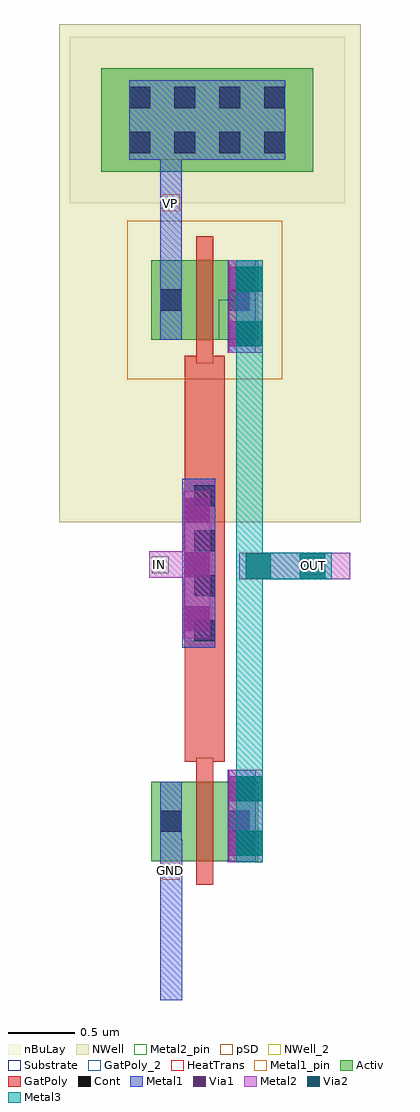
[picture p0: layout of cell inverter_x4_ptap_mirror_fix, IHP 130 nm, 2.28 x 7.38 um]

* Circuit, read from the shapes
.subckt inverter_x4_ptap_mirror_fix GND IN OUT VP
XM1 OUT IN GND VSUBS sg13_lv_nmos w=0.6u l=0.13u
XM2 OUT IN VP VP sg13_lv_pmos w=0.6u l=0.13u
.ends

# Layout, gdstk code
import gdstk
lib = gdstk.Library(unit=1e-6, precision=1e-09)
def R(c, l, rs):  # rectangles x0, y0, x1, y1
    for r in rs: c.add(gdstk.rectangle(r[:2], r[2:], *l))
def A(c, l, x, y, w, h, nx, ny, dx, dy):  # array of equal rectangles
    R(c, l, [(x+i*dx, y+j*dy, x+i*dx+w, y+j*dy+h) for i in range(nx) for j in range(ny)])
Activ = (1, 0)
GatPoly = (5, 0)
GatPoly_2 = (5, 2)
Cont = (6, 0)
Metal1 = (8, 0)
Metal1_pin = (8, 2)
Metal2 = (10, 0)
Metal2_pin = (10, 2)
pSD = (14, 0)
Via1 = (19, 0)
Via2 = (29, 0)
Metal3 = (30, 0)
NWell = (31, 0)
NWell_2 = (31, 2)
nBuLay = (32, 0)
Substrate = (40, 0)
HeatTrans = (51, 0)

via_2 = lib.new_cell('Via$2')
R(via_2, Metal2, [(-0.1,-0.35,0.1,0.35)])
R(via_2, Via2, [(-0.095,-0.3,0.095,-0.11), (-0.095,0.11,0.095,0.3)])
R(via_2, Metal3, [(-0.1,-0.35,0.1,0.35)])

via = lib.new_cell('Via')
R(via, Metal1, [(-0.105,-0.35,0.105,0.35)])
R(via, Metal2, [(-0.1,-0.35,0.1,0.35)])
R(via, Via1, [(-0.095,-0.3,0.095,-0.11), (-0.095,0.11,0.095,0.3)])

via_6 = lib.new_cell('Via$6')
R(via_6, Metal1, [(-0.105,-0.555,0.105,0.555)])
R(via_6, Metal2, [(-0.1,-0.555,0.1,0.555)])
A(via_6, Via1, -0.095, -0.505, 0.19, 0.19, 1, 3, 0, 0.41)

via_7 = lib.new_cell('Via$7')
R(via_7, Metal2, [(-0.35,-0.1,0.35,0.1)])
R(via_7, Via2, [(-0.3,-0.095,-0.11,0.095), (0.11,-0.095,0.3,0.095)])
R(via_7, Metal3, [(-0.35,-0.1,0.35,0.1)])

ntap1 = lib.new_cell('ntap1')
R(ntap1, Activ, [(0,0,1.6,0.78)])
A(ntap1, Cont, 0.21, 0.14, 0.16, 0.16, 4, 2, 0.34, 0.34)
R(ntap1, Metal1, [(0.21,0.09,1.39,0.69)])
R(ntap1, Metal1_pin, [(0.21,0.09,1.39,0.69), (0.21,0.14,1.39,0.64)])
R(ntap1, NWell, [(-0.24,-0.24,1.84,1.02), (0,0,1.6,0.78)])
R(ntap1, NWell_2, [(0,0,1.6,0.78)])
R(ntap1, nBuLay, [(-0.24,-0.24,1.84,1.02)])
ntap1.add(gdstk.Label('well', (0.8,0.01), layer=63, texttype=0))
ntap1.add(gdstk.Label('well', (0.8,0.01), layer=31, texttype=0))

nmos = lib.new_cell('nmos')
R(nmos, Activ, [(0,0,0.3,0.3), (0,0,0.81,0.6), (0.51,0,0.81,0.3)])
R(nmos, GatPoly, [(0.34,-0.18,0.47,0.78)])
R(nmos, GatPoly_2, [(0.34,-0.18,0.47,0.78)])
R(nmos, Cont, [(0.07,0.22,0.23,0.38), (0.58,0.22,0.74,0.38)])
R(nmos, Metal1, [(0.07,0,0.23,0.6), (0.58,0,0.74,0.6)])
R(nmos, Metal1_pin, [(0.07,0,0.23,0.6), (0.58,0,0.74,0.6)])
R(nmos, HeatTrans, [(0.34,-0.18,0.47,0.78)])
nmos.add(gdstk.Label('nmos', (0.405,0.3), layer=63, texttype=0))
nmos.add(gdstk.Label('nmos', (0.405,0.3), layer=51, texttype=0))

via_5 = lib.new_cell('Via$5')
R(via_5, GatPoly, [(-0.15,-0.66,0.15,0.66)])
A(via_5, Cont, -0.08, -0.59, 0.16, 0.16, 1, 4, 0, 0.34)
R(via_5, Metal1, [(-0.08,-0.64,0.08,0.64)])

pmos = lib.new_cell('pmos')
R(pmos, Activ, [(0,0,0.3,0.3), (0,0,0.81,0.6), (0.51,0,0.81,0.3)])
R(pmos, GatPoly, [(0.34,-0.18,0.47,0.78), (0.34,-0.18,0.47,0.78)])
R(pmos, Cont, [(0.07,0.22,0.23,0.38), (0.58,0.22,0.74,0.38)])
R(pmos, Metal1, [(0.07,0,0.23,0.6), (0.07,0,0.23,0.6), (0.58,0,0.74,0.6), (0.58,0,0.74,0.6)])
R(pmos, pSD, [(-0.18,-0.3,0.99,0.9)])
R(pmos, NWell, [(-0.31,-0.31,1.12,0.91)])
R(pmos, Substrate, [(0.51,0,0.81,0.3)])
R(pmos, HeatTrans, [(0.34,-0.18,0.47,0.78)])
pmos.add(gdstk.Label('pmos', (0.405,0.3), layer=63, texttype=0))
pmos.add(gdstk.Label('pmos', (0.405,0.3), layer=51, texttype=0))

inverter_x4_ptap_mirror_ = lib.new_cell('inverter_x4_ptap_mirror_fix')
R(inverter_x4_ptap_mirror_, GatPoly, [(-0.265,-2.855,-0.135,-2.655), (-0.35,-2.65,-0.05,-1.81), (-0.35,-0.49,-0.05,0.42)])
R(inverter_x4_ptap_mirror_, Metal1, [(-0.535,-4.45,-0.37,-3.805), (-0.535,-3.805,-0.37,-3.24), (-0.37,-1.79,-0.35,-0.51), (-0.35,-1.79,-0.28,-0.51), (-0.535,0.96,-0.375,1.26), (-0.535,1.245,-0.375,2.235)])
R(inverter_x4_ptap_mirror_, Metal1_pin, [(-0.52,-3.54,-0.39,-3.41), (-0.52,1.51,-0.39,1.64)])
R(inverter_x4_ptap_mirror_, Metal2, [(-0.02,-3.41,0.24,-2.71), (0.53,-1.27,0.9,-1.07), (-0.62,-1.26,-0.28,-1.06), (-0.02,0.44,0.24,1.14)])
R(inverter_x4_ptap_mirror_, Metal2_pin, [(0.555,-1.235,0.685,-1.105), (-0.6,-1.225,-0.47,-1.095)])
R(inverter_x4_ptap_mirror_, Metal3, [(0.04,-3.09,0.24,-2.63), (0.04,-2.7,0.24,-0.24), (0.04,-0.34,0.24,0.76)])
R(inverter_x4_ptap_mirror_, NWell, [(-1.3,-0.84,0.98,0.14), (-1.3,0.14,0.98,0.655), (-1.3,0.655,0.755,2.925), (0.755,0.655,0.98,2.925)])
inverter_x4_ptap_mirror_.add(gdstk.Reference(via_2, (0.14,-3.06)))
inverter_x4_ptap_mirror_.add(gdstk.Reference(via, (0.08,-3.06)))
inverter_x4_ptap_mirror_.add(gdstk.Reference(via_6, (-0.26,-1.16)))
inverter_x4_ptap_mirror_.add(gdstk.Reference(via_7, (0.41,-1.17)))
inverter_x4_ptap_mirror_.add(gdstk.Reference(ntap1, (-0.98,1.81)))
inverter_x4_ptap_mirror_.add(gdstk.Reference(nmos, (-0.605,-3.4)))
inverter_x4_ptap_mirror_.add(gdstk.Reference(via_5, (-0.2,-1.15)))
inverter_x4_ptap_mirror_.add(gdstk.Reference(pmos, (-0.605,0.54)))
inverter_x4_ptap_mirror_.add(gdstk.Reference(via, (0.08,0.79)))
inverter_x4_ptap_mirror_.add(gdstk.Reference(via_2, (0.14,0.79)))
inverter_x4_ptap_mirror_.add(gdstk.Label('GND', (-0.455,-3.47), layer=8, texttype=25))
inverter_x4_ptap_mirror_.add(gdstk.Label('VP', (-0.455,1.57), layer=8, texttype=25))
inverter_x4_ptap_mirror_.add(gdstk.Label('OUT', (0.62,-1.17), layer=10, texttype=25))
inverter_x4_ptap_mirror_.add(gdstk.Label('IN', (-0.54,-1.16), layer=10, texttype=25))

lib.write_gds('inverter_x4_ptap_mirror_fix.gds')
